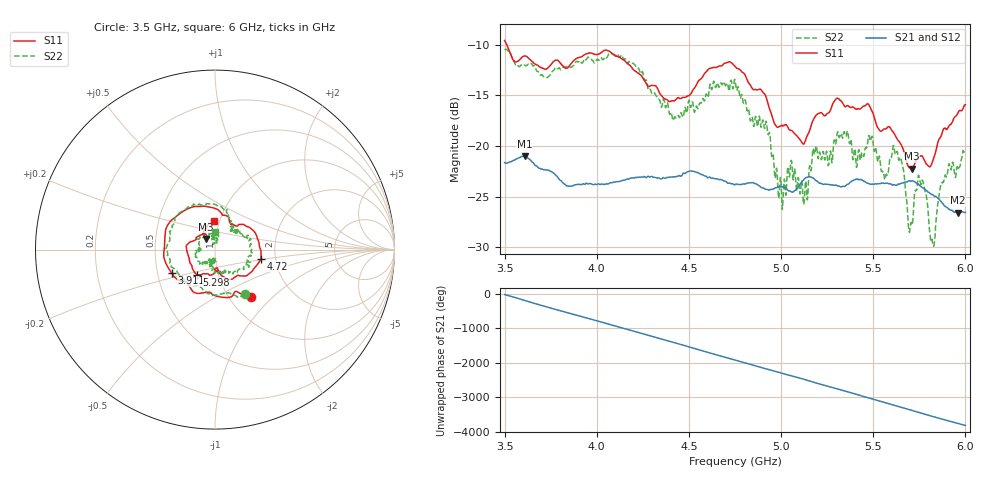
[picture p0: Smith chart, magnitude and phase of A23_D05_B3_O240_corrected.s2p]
! Created with skrf 1.9.0 (http://scikit-rf.org).
# Hz S RI R 50.0
!freq ReS11 ImS11 ReS21 ImS21 ReS12 ImS12 ReS22 ImS22
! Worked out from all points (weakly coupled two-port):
!   1601 points, 3.5 GHz to 6 GHz, reference 50 ohm
!   highest |S21| = -21.02 dB at 3.609 GHz (marker M1); lowest = -26.6 dB at 5.958 GHz (marker M2)
!   lowest |S11| = -22.2 dB at 5.709 GHz (marker M3), VSWR 1.17, Z = 45 + j5.34 ohm
!   |S11| at or under -10 dB: 3.512 GHz to end of sweep
!   |S22| runs from -29.9 to -10.4 dB; largest |S21 - S12| = 0.00095
!   S11 on the Smith chart (normalised r, x): 3.5 GHz: 1.26, -0.75; 3.911 GHz: 0.59, -0.17; 4.72 GHz: 1.68, -0.18; 5.298 GHz: 0.79, -0.23; 6 GHz: 0.94, +0.31
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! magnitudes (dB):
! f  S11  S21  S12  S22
! 3.5 GHz  -9.6  -21.7  -21.6  -10.4
! 3.609 GHz  -11.1  -21.0  -21.0  -12.0
! 3.911 GHz  -11.2  -23.8  -23.8  -11.6
! 3.917 GHz  -11.2  -23.8  -23.8  -11.8
! 4.128 GHz  -11.3  -23.5  -23.4  -11.2
! 4.334 GHz  -14.5  -23.2  -23.1  -15.3
! 4.72 GHz  -11.7  -23.7  -23.7  -14.5
! 4.75 GHz  -12.1  -23.8  -23.8  -13.5
! 4.928 GHz  -15.8  -24.3  -24.3  -18.8
! 4.997 GHz  -18.0  -24.1  -24.0  -23.1
! 5.048 GHz  -18.4  -24.4  -24.5  -22.6
! 5.133 GHz  -19.4  -23.2  -23.1  -23.5
! 5.167 GHz  -17.7  -23.1  -23.1  -21.5
! 5.298 GHz  -15.4  -23.9  -23.8  -19.6
! 5.584 GHz  -18.1  -23.7  -23.7  -22.1
! 5.642 GHz  -19.6  -23.8  -23.7  -21.4
! 5.709 GHz  -22.2  -23.5  -23.4  -27.8
! 5.756 GHz  -21.0  -24.0  -23.9  -23.7
! 5.823 GHz  -21.4  -24.8  -24.8  -29.8
! 5.873 GHz  -18.7  -25.6  -25.6  -23.7
! 5.958 GHz  -16.8  -26.6  -26.5  -22.3
! 6 GHz  -15.9  -26.6  -26.5  -20.3
